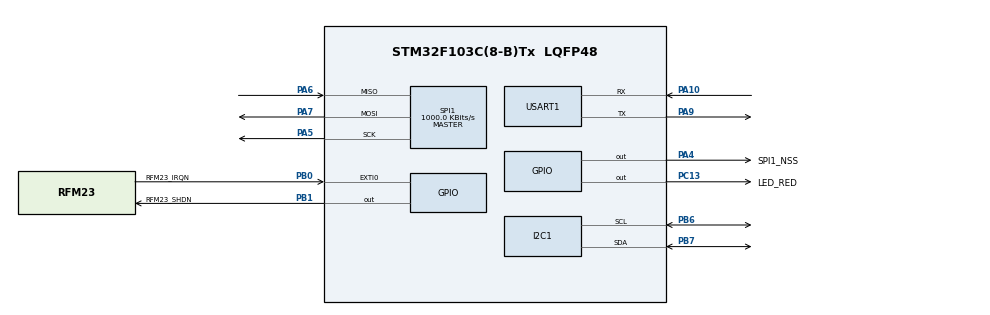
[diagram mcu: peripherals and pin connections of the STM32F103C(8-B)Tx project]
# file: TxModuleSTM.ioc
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Mcu.Family=STM32F1
Mcu.Name=STM32F103C(8-B)Tx
Mcu.Package=LQFP48
NVIC.EXTI0_IRQn=true\:1\:0\:true\:false\:true\:true
NVIC.PriorityGroup=NVIC_PRIORITYGROUP_4
NVIC.TIM1_UP_IRQn=true\:0\:0\:false\:false\:true\:true
PA10.Mode=Asynchronous
PA10.Signal=USART1_RX
PA13.Mode=Serial_Wire
PA13.Signal=SYS_JTMS-SWDIO
PA14.Mode=Serial_Wire
PA14.Signal=SYS_JTCK-SWCLK
PA4.GPIO_Label=SPI1_NSS
PA4.PinState=GPIO_PIN_SET
PA4.Signal=GPIO_Output
PA5.Mode=Full_Duplex_Master
PA5.Signal=SPI1_SCK
PA6.Mode=Full_Duplex_Master
PA6.Signal=SPI1_MISO
PA7.Mode=Full_Duplex_Master
PA7.Signal=SPI1_MOSI
PA9.Mode=Asynchronous
PA9.Signal=USART1_TX
PB0.GPIO_Label=RFM23_IRQN
PB0.GPIO_ModeDefaultEXTI=GPIO_MODE_IT_FALLING
PB0.GPIO_PuPd=GPIO_PULLUP
PB0.Signal=GPXTI0
PB1.GPIO_Label=RFM23_SHDN
PB1.Signal=GPIO_Output
PB6.Mode=I2C
PB6.Signal=I2C1_SCL
PB7.Mode=I2C
PB7.Signal=I2C1_SDA
PC13-TAMPER-RTC.GPIO_Label=LED_RED
PC13-TAMPER-RTC.GPIO_ModeDefaultOutputPP=GPIO_MODE_OUTPUT_PP
PC13-TAMPER-RTC.Signal=GPIO_Output
ProjectManager.HeapSize=0x200
ProjectManager.StackSize=0x400
ProjectManager.TargetToolchain=TrueSTUDIO
RCC.APB1Freq_Value=8000000
RCC.APB2Freq_Value=8000000
SPI1.BaudRatePrescaler=SPI_BAUDRATEPRESCALER_8
SPI1.CalculateBaudRate=1000.0 KBits/s
SPI1.Direction=SPI_DIRECTION_2LINES
SPI1.Mode=SPI_MODE_MASTER
SPI1.VirtualType=VM_MASTER
TIM1.AutoReloadPreload=TIM_AUTORELOAD_PRELOAD_ENABLE
TIM1.Period=10
TIM1.Prescaler=800
TIM1.TIM_MasterOutputTrigger=TIM_TRGO_UPDATE
USART1.VirtualMode=VM_ASYNC
VP_TIM1_VS_ClockSourceINT.Mode=Internal
board=TxModuleSTM

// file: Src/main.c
/**
  ******************************************************************************
  * File Name          : main.c
  * Description        : Main program body
  ******************************************************************************
  ** This notice applies to any and all portions of this file
  * that are not between comment pairs USER CODE BEGIN and
  * USER CODE END. Other portions of this file, whether
  * inserted by the user or by software development tools
  * are owned by their respective copyright owners.
  *
  * COPYRIGHT(c) 2017 STMicroelectronics
  *
  * Redistribution and use in source and binary forms, with or without modification,
  * are permitted provided that the following conditions are met:
  *   1. Redistributions of source code must retain the above copyright notice,
  *      this list of conditions and the following disclaimer.
  *   2. Redistributions in binary form must reproduce the above copyright notice,
  *      this list of conditions and the following disclaimer in the documentation
  *      and/or other materials provided with the distribution.
  *   3. Neither the name of STMicroelectronics nor the names of its contributors
  *      may be used to endorse or promote products derived from this software
  *      without specific prior written permission.
  *
  * THIS SOFTWARE IS PROVIDED BY THE COPYRIGHT HOLDERS AND CONTRIBUTORS "AS IS"
  * AND ANY EXPRESS OR IMPLIED WARRANTIES, INCLUDING, BUT NOT LIMITED TO, THE
  * IMPLIED WARRANTIES OF MERCHANTABILITY AND FITNESS FOR A PARTICULAR PURPOSE ARE
  * DISCLAIMED. IN NO EVENT SHALL THE COPYRIGHT HOLDER OR CONTRIBUTORS BE LIABLE
  * FOR ANY DIRECT, INDIRECT, INCIDENTAL, SPECIAL, EXEMPLARY, OR CONSEQUENTIAL
  * DAMAGES (INCLUDING, BUT NOT LIMITED TO, PROCUREMENT OF SUBSTITUTE GOODS OR
  * SERVICES; LOSS OF USE, DATA, OR PROFITS; OR BUSINESS INTERRUPTION) HOWEVER
  * CAUSED AND ON ANY THEORY OF LIABILITY, WHETHER IN CONTRACT, STRICT LIABILITY,
  * OR TORT (INCLUDING NEGLIGENCE OR OTHERWISE) ARISING IN ANY WAY OUT OF THE USE
  * OF THIS SOFTWARE, EVEN IF ADVISED OF THE POSSIBILITY OF SUCH DAMAGE.
  *
  ******************************************************************************
  */
#include "main.h"
#include "stm32f1xx_hal.h"
#include "i2c.h"
#include "spi.h"
#include "tim.h"
#include "usart.h"
#include "gpio.h"

/* USER CODE BEGIN Includes */
#include <stdbool.h>
#include <stdint.h>

#include "RF22.h"
/* USER CODE END Includes */

/* USER CODE BEGIN PV */
/* Private variables ---------------------------------------------------------*/

/* USER CODE END PV */

void SystemClock_Config(void);

/* USER CODE BEGIN PFP */
/* Private function prototypes -----------------------------------------------*/

/* USER CODE END PFP */

int main(void)
{

  /* MCU Configuration----------------------------------------------------------*/

  /* Reset of all peripherals, Initializes the Flash interface and the Systick. */
  HAL_Init();

  /* Configure the system clock */
  SystemClock_Config();

  /* Initialize all configured peripherals */
  MX_GPIO_Init();
  MX_SPI1_Init();
  MX_I2C1_Init();
  MX_TIM1_Init();
  MX_USART1_UART_Init();

  /* USER CODE BEGIN 2 */
  // Timer1 Start
  if (HAL_TIM_Base_Start(&htim1) != HAL_OK) {
      Error_Handler();
  }
  if (HAL_TIM_Base_Start_IT(&htim1) != HAL_OK) {
      Error_Handler();
  }

#define STATION_MODULE_ADDRESS 0x97
#define SENSOR_MODULE_ADDRESS 0x78
  if (!RF22_DatagramInit(SENSOR_MODULE_ADDRESS))
  {
	  Error_Handler();
  }

  // Init server demo
  uint8_t data[] = "DATA_FROM_TemperatureSensor_MODULE";;
  uint8_t respBuf[40];
  uint8_t len = sizeof(respBuf);
  uint8_t from;

  while(1)
  {
      if (!RF22_sendtoWait(data, sizeof(data), STATION_MODULE_ADDRESS))
      {
    	  uint8_t didNotSent = 0;
    	  didNotSent += 100;
      }
      else
      {
    	  uint8_t respVal = 0;
          if (RF22_recvfromAckTimeout(respBuf, &len, 1000, &from, NULL, NULL, NULL))
          {
        	  respVal++;
        	  respVal++;
          }
          else
          {
        	  respVal++;
          }
      }
  }
  /* USER CODE END 2 */

  /* Infinite loop */
  while (1)
  {

  }

}

/** System Clock Configuration
*/
void SystemClock_Config(void)
{

  RCC_OscInitTypeDef RCC_OscInitStruct;
  RCC_ClkInitTypeDef RCC_ClkInitStruct;

    /**Initializes the CPU, AHB and APB busses clocks
    */
  RCC_OscInitStruct.OscillatorType = RCC_OSCILLATORTYPE_HSI;
  RCC_OscInitStruct.HSIState = RCC_HSI_ON;
  RCC_OscInitStruct.HSICalibrationValue = 16;
  RCC_OscInitStruct.PLL.PLLState = RCC_PLL_NONE;
  if (HAL_RCC_OscConfig(&RCC_OscInitStruct) != HAL_OK)
  {
    _Error_Handler(__FILE__, __LINE__);
  }

    /**Initializes the CPU, AHB and APB busses clocks
    */
  RCC_ClkInitStruct.ClockType = RCC_CLOCKTYPE_HCLK|RCC_CLOCKTYPE_SYSCLK
                              |RCC_CLOCKTYPE_PCLK1|RCC_CLOCKTYPE_PCLK2;
  RCC_ClkInitStruct.SYSCLKSource = RCC_SYSCLKSOURCE_HSI;
  RCC_ClkInitStruct.AHBCLKDivider = RCC_SYSCLK_DIV1;
  RCC_ClkInitStruct.APB1CLKDivider = RCC_HCLK_DIV1;
  RCC_ClkInitStruct.APB2CLKDivider = RCC_HCLK_DIV1;

  if (HAL_RCC_ClockConfig(&RCC_ClkInitStruct, FLASH_LATENCY_0) != HAL_OK)
  {
    _Error_Handler(__FILE__, __LINE__);
  }

    /**Configure the Systick interrupt time
    */
  HAL_SYSTICK_Config(HAL_RCC_GetHCLKFreq()/1000);

    /**Configure the Systick
    */
  HAL_SYSTICK_CLKSourceConfig(SYSTICK_CLKSOURCE_HCLK);

  /* SysTick_IRQn interrupt configuration */
  HAL_NVIC_SetPriority(SysTick_IRQn, 0, 0);
}

void _Error_Handler(char * file, int line)
{
  while(1)
  {
  }
}

/************************ (C) COPYRIGHT STMicroelectronics *****END OF FILE****/
